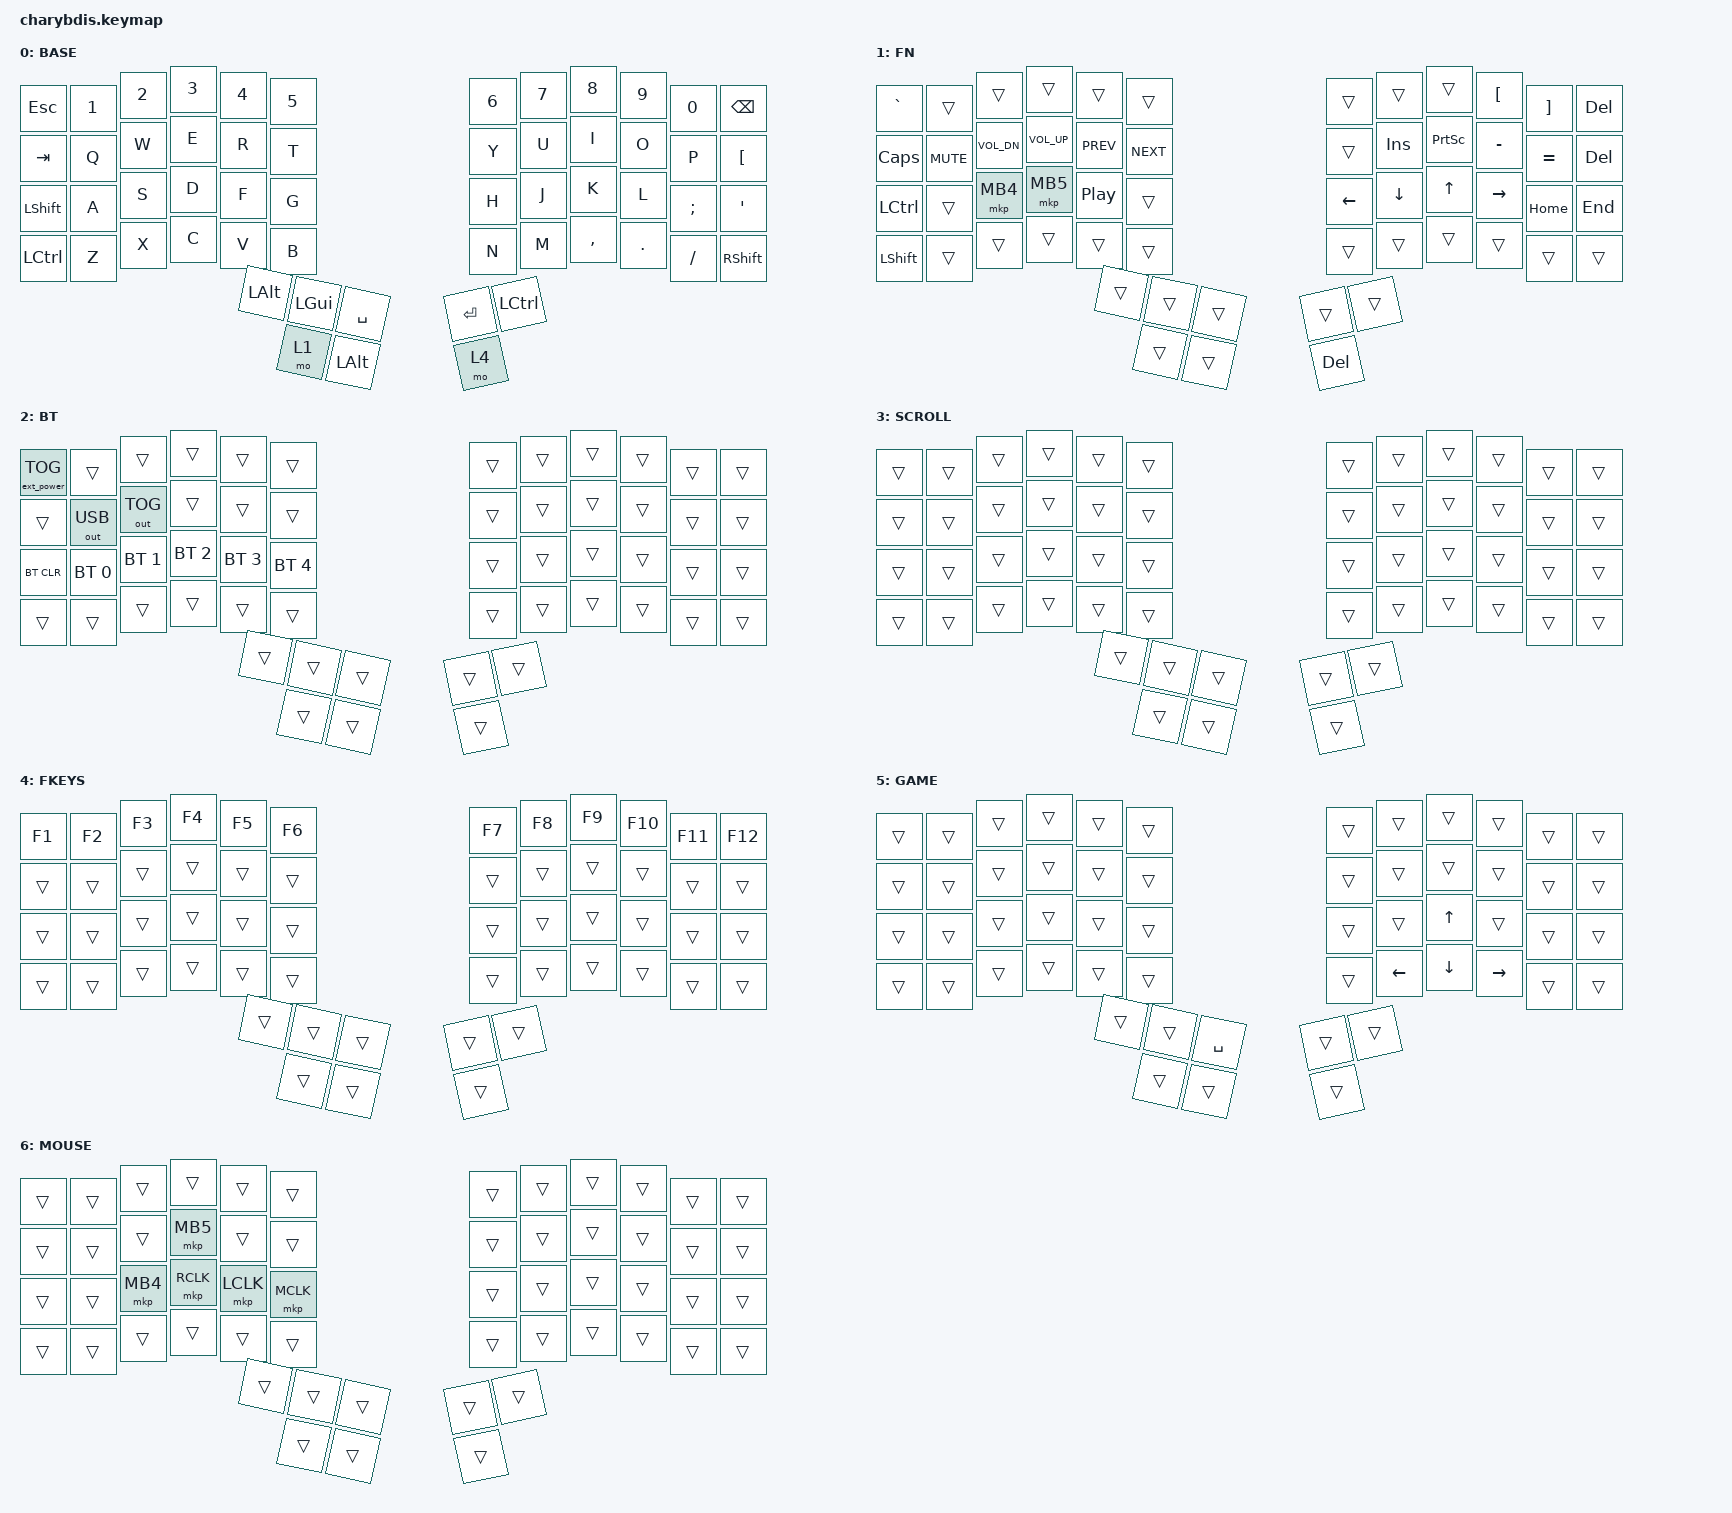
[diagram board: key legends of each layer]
#include <behaviors/mouse_keys.dtsi>
#include <behaviors.dtsi>
#include <dt-bindings/zmk/bt.h>
#include <dt-bindings/zmk/ext_power.h>
#include <dt-bindings/zmk/outputs.h>
#include <dt-bindings/zmk/keys.h>
#include <dt-bindings/zmk/mouse.h>
#include <dt-bindings/zmk/pointing.h>
#include <dt-bindings/zmk/input_transform.h>
#include <input/processors.dtsi>

// Layer definitions
// 0: BASE    - QWERTY, same as the other keyboard (thumbs: L Alt/Gui/Space + MO1/Alt, R Enter/Ctrl + MO4)
// 1: FN      - arrows, nav, media + trackball scroll (hold left lower thumb)
// 2: BT      - bluetooth management
// 3: SCROLL  - trackball scroll
// 4: FKEYS   - F1-F12 (hold right lower thumb)
// 5: GAME    - gaming mode (toggle: Space + Enter together; K/M/,/. as arrows)
// 6: MOUSE   - auto mouse layer: turned on by moving the trackball, off 700 ms after it stops

/ {
    behaviors {
        lspc: left_space_scroll {
            compatible = "zmk,behavior-hold-tap";
            #binding-cells = <2>;
            tapping-term-ms = <200>;
            flavor = "tap-preferred";
            bindings = <&mo>, <&kp>;
        };
    };

    /* Trackball (standard ZMK input listener; replaces badjeff's input-behavior-listener,
       whose main branch no longer builds with ZMK v0.3).
       - base: cursor move, scaled 9/10, both axes inverted
       - moving the ball turns on the MOUSE layer, it switches off 700 ms after the ball stops
       - on FN (hold left space) and SCROLL layers the ball scrolls vertically */

    trackball_listener {
        compatible = "zmk,input-listener";
        device = <&vtrackball>;
        input-processors = <&zip_xy_scaler 9 10>,    /* 0.9 (was 0.65, +38%) */
                           <&zip_xy_transform (INPUT_TRANSFORM_X_INVERT | INPUT_TRANSFORM_Y_INVERT)>,
                           <&zip_temp_layer 6 700>;

        scroller {
            layers = <1 3>;
            /* scroll direction reversed: no Y invert here (put
               <&zip_xy_transform (INPUT_TRANSFORM_Y_INVERT)>, back first to undo) */
            input-processors = <&zip_x_scaler 0 1>,
                               <&zip_xy_scaler 1 14>,
                               <&zip_xy_to_scroll_mapper>;
        };
    };

    combos {
        compatible = "zmk,combos";

        to-BT {
            bindings = <&mo 2>;
            key-positions = <41 42>;
            layers = <0 1>;
        };

        game_toggle {
            bindings = <&tog 5>;
            key-positions = <50 51>;
            layers = <0 5>;
            timeout-ms = <100>;
        };

    };

    keymap {
        compatible = "zmk,keymap";

        default_layer {
            label = "BASE";
            bindings = <
&kp ESCAPE  &kp N1  &kp N2  &kp N3    &kp N4     &kp N5       &kp N6     &kp N7     &kp N8     &kp N9    &kp N0    &kp BSPC
&kp TAB     &kp Q   &kp W   &kp E     &kp R      &kp T        &kp Y      &kp U      &kp I      &kp O     &kp P     &kp LBKT
&kp LSHFT   &kp A   &kp S   &kp D     &kp F      &kp G        &kp H      &kp J      &kp K      &kp L     &kp SEMI  &kp SQT
&kp LCTRL   &kp Z   &kp X   &kp C     &kp V      &kp B        &kp N      &kp M      &kp COMMA  &kp DOT   &kp FSLH  &kp RSHFT
                             &kp LALT  &kp LGUI   &kp SPACE    &kp RET    &kp LCTRL
                                       &mo 1      &kp LALT     &mo 4
            >;
        };

        fn_layer {
            label = "FN";
            bindings = <
&kp GRAVE  &trans      &trans        &trans        &trans  &trans     &trans    &trans     &trans     &kp LBKT   &kp RBKT   &kp DEL
&kp CAPS   &kp C_MUTE  &kp C_VOL_DN  &kp C_VOL_UP  &kp C_PREV  &kp C_NEXT    &trans    &kp INS    &kp PSCRN  &kp MINUS  &kp EQUAL  &kp DEL
&kp LCTRL  &trans      &mkp MB4      &mkp MB5      &kp C_PP  &trans    &kp LEFT  &kp DOWN  &kp UP     &kp RIGHT  &kp HOME   &kp END
&kp LSHFT  &trans      &trans        &trans        &trans  &trans     &trans    &trans    &trans     &trans     &trans     &trans
                            &trans    &trans     &trans        &trans    &trans
                                      &trans     &trans        &kp DEL
            >;
        };

        bt_layer {
            label = "BT";
            bindings = <
&ext_power EP_TOG  &trans        &trans        &trans        &trans        &trans          &trans  &trans  &trans  &trans  &trans  &trans
&trans             &out OUT_USB  &out OUT_TOG  &trans        &trans        &trans          &trans  &trans  &trans  &trans  &trans  &trans
&bt BT_CLR         &bt BT_SEL 0  &bt BT_SEL 1  &bt BT_SEL 2  &bt BT_SEL 3  &bt BT_SEL 4    &trans  &trans  &trans  &trans  &trans  &trans
&trans             &trans        &trans        &trans        &trans        &trans          &trans  &trans  &trans  &trans  &trans  &trans
                                               &trans        &trans        &trans          &trans  &trans
                                                             &trans        &trans          &trans
            >;
        };

        scroll_layer {
            label = "SCROLL";
            bindings = <
&trans  &trans  &trans  &trans  &trans  &trans    &trans  &trans  &trans  &trans  &trans  &trans
&trans  &trans  &trans  &trans  &trans  &trans    &trans  &trans  &trans  &trans  &trans  &trans
&trans  &trans  &trans  &trans  &trans  &trans    &trans  &trans  &trans  &trans  &trans  &trans
&trans  &trans  &trans  &trans  &trans  &trans    &trans  &trans  &trans  &trans  &trans  &trans
                        &trans  &trans  &trans    &trans  &trans
                                &trans  &trans    &trans
            >;
        };

        fkeys_layer {
            label = "FKEYS";
            bindings = <
&kp F1  &kp F2  &kp F3  &kp F4  &kp F5  &kp F6    &kp F7  &kp F8  &kp F9  &kp F10  &kp F11  &kp F12
&trans  &trans  &trans  &trans  &trans  &trans    &trans  &trans  &trans  &trans   &trans   &trans
&trans  &trans  &trans  &trans  &trans  &trans    &trans  &trans  &trans  &trans   &trans   &trans
&trans  &trans  &trans  &trans  &trans  &trans    &trans  &trans  &trans  &trans   &trans   &trans
                        &trans  &trans  &trans    &trans  &trans
                                &trans  &trans    &trans
            >;
        };

        game_layer {
            label = "GAME";
            bindings = <
&trans  &trans  &trans  &trans  &trans  &trans    &trans    &trans    &trans     &trans     &trans  &trans
&trans  &trans  &trans  &trans  &trans  &trans    &trans    &trans    &trans     &trans     &trans  &trans
&trans  &trans  &trans  &trans  &trans  &trans    &trans    &trans    &kp UP     &trans     &trans  &trans
&trans  &trans  &trans  &trans  &trans  &trans    &trans    &kp LEFT  &kp DOWN   &kp RIGHT  &trans  &trans
                        &trans  &trans  &kp SPACE    &trans    &trans
                                &trans  &trans    &trans
            >;
        };

        mouse_layer {
            label = "MOUSE";
            bindings = <
&trans  &trans  &trans    &trans    &trans    &trans      &trans  &trans  &trans  &trans  &trans  &trans
&trans  &trans  &trans    &mkp MB5  &trans    &trans      &trans  &trans  &trans  &trans  &trans  &trans
&trans  &trans  &mkp MB4  &mkp RCLK &mkp LCLK &mkp MCLK   &trans  &trans  &trans  &trans  &trans  &trans
&trans  &trans  &trans    &trans    &trans    &trans      &trans  &trans  &trans  &trans  &trans  &trans
                        &trans  &trans  &trans    &trans  &trans
                                &trans  &trans    &trans
            >;
        };
    };
};

/* Auto mouse layer: do not jump into MOUSE if a key was pressed in the last 250 ms
   (ball brushed while typing). No excluded-positions: pressing keys keeps the layer on. */
&zip_temp_layer {
    require-prior-idle-ms = <250>;
};
